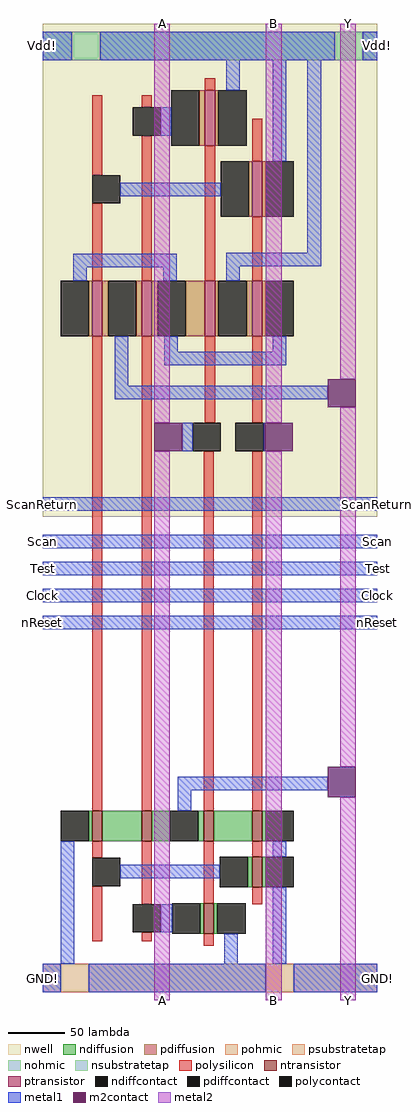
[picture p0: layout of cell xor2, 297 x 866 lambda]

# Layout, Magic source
magic
tech tsmc180
<< nwell >>
rect 0 429 297 866
<< polysilicon >>
rect 144 807 153 818
rect 44 732 53 803
rect 88 792 97 803
rect 44 638 53 707
rect 88 638 97 767
rect 144 638 153 758
rect 186 744 195 782
rect 186 638 195 695
rect 44 168 53 589
rect 88 168 97 589
rect 144 512 153 589
rect 186 512 195 589
rect 143 168 152 487
rect 186 168 195 487
rect 44 126 53 141
rect 44 52 53 101
rect 88 85 97 141
rect 143 86 152 141
rect 186 127 195 141
rect 88 52 97 60
rect 186 85 195 100
rect 143 48 152 59
<< ndiffusion >>
rect 41 141 44 168
rect 53 141 88 168
rect 97 141 113 168
rect 138 141 143 168
rect 152 141 186 168
rect 195 141 198 168
rect 182 100 186 127
rect 195 100 198 127
rect 140 59 143 86
rect 152 59 155 86
<< pdiffusion >>
rect 139 758 144 807
rect 153 758 156 807
rect 183 695 186 744
rect 195 695 198 744
rect 41 589 44 638
rect 53 589 58 638
rect 83 589 88 638
rect 97 589 102 638
rect 127 589 144 638
rect 153 589 156 638
rect 181 589 186 638
rect 195 589 198 638
<< pohmic >>
rect 0 7 16 32
rect 41 7 198 32
rect 223 7 297 32
<< nohmic >>
rect 0 834 26 859
rect 51 834 259 859
rect 284 834 297 859
<< ntransistor >>
rect 44 141 53 168
rect 88 141 97 168
rect 143 141 152 168
rect 186 141 195 168
rect 186 100 195 127
rect 143 59 152 86
<< ptransistor >>
rect 144 758 153 807
rect 186 695 195 744
rect 44 589 53 638
rect 88 589 97 638
rect 144 589 153 638
rect 186 589 195 638
<< polycontact >>
rect 80 767 105 792
rect 44 707 69 732
rect 133 487 158 512
rect 171 487 196 512
rect 44 101 69 126
rect 80 60 105 85
<< ndiffcontact >>
rect 16 141 41 168
rect 113 141 138 168
rect 198 141 223 168
rect 157 100 182 127
rect 198 100 223 127
rect 115 59 140 86
rect 155 59 180 86
<< pdiffcontact >>
rect 114 758 139 807
rect 156 758 181 807
rect 158 695 183 744
rect 198 695 223 744
rect 16 589 41 638
rect 58 589 83 638
rect 102 589 127 638
rect 156 589 181 638
rect 198 589 223 638
<< psubstratetap >>
rect 16 7 41 32
rect 198 7 223 32
<< nsubstratetap >>
rect 26 834 51 859
rect 259 834 284 859
<< metal1 >>
rect 0 834 26 859
rect 51 834 259 859
rect 284 834 297 859
rect 163 807 175 834
rect 105 767 114 792
rect 204 744 216 834
rect 69 713 158 725
rect 235 663 247 834
rect 27 650 119 662
rect 27 638 39 650
rect 107 638 119 650
rect 163 651 247 663
rect 163 638 175 651
rect 64 545 76 589
rect 108 575 120 589
rect 204 575 216 589
rect 108 563 216 575
rect 64 533 253 545
rect 124 487 133 512
rect 196 487 197 512
rect 0 434 297 446
rect 0 401 297 413
rect 0 377 297 389
rect 0 353 297 365
rect 0 329 297 341
rect 120 186 253 198
rect 120 168 132 186
rect 16 32 28 141
rect 204 127 216 141
rect 69 108 157 120
rect 105 60 115 85
rect 161 32 173 59
rect 204 32 216 100
rect 0 7 16 32
rect 41 7 198 32
rect 223 7 297 32
<< m2contact >>
rect 253 526 278 551
rect 99 487 124 512
rect 197 487 222 512
rect 253 180 278 207
<< metal2 >>
rect 99 512 113 866
rect 198 512 212 866
rect 264 551 278 866
rect 99 0 113 487
rect 198 0 212 487
rect 264 207 278 526
rect 264 0 278 180
<< labels >>
rlabel metal1 0 377 0 389 3 Test
rlabel metal1 0 353 0 365 3 Clock
rlabel metal1 0 329 0 341 3 nReset
rlabel metal1 0 834 0 859 3 Vdd!
rlabel metal2 99 0 113 0 1 A
rlabel metal2 99 866 113 866 5 A
rlabel metal2 198 0 212 0 1 B
rlabel metal2 198 866 212 866 5 B
rlabel metal2 264 866 278 866 5 Y
rlabel metal2 264 0 278 0 1 Y
rlabel metal1 297 377 297 389 7 Test
rlabel metal1 297 353 297 365 7 Clock
rlabel metal1 297 329 297 341 7 nReset
rlabel metal1 297 834 297 859 7 Vdd!
rlabel metal1 0 401 0 413 3 Scan
rlabel metal1 297 401 297 413 7 Scan
rlabel metal1 0 434 0 446 3 ScanReturn
rlabel metal1 297 434 297 446 7 ScanReturn
rlabel metal1 0 7 0 32 3 GND!
rlabel metal1 297 7 297 32 7 GND!
<< end >>
